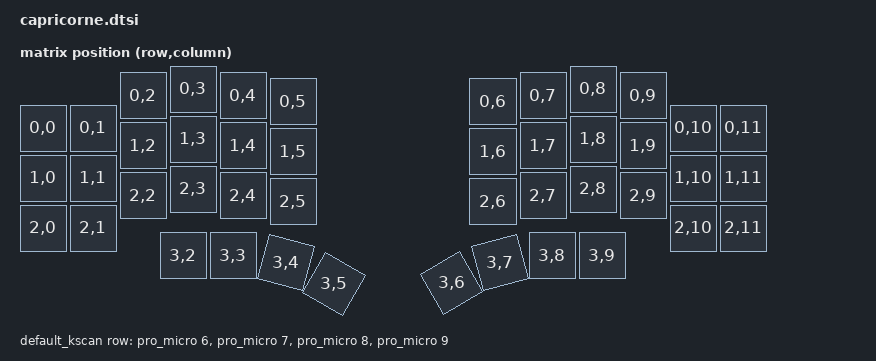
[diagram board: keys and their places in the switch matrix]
/*
 * Copyright (c) 2022 The ZMK Contributors
 *
 * SPDX-License-Identifier: MIT
 */

#include <dt-bindings/zmk/matrix_transform.h>
#include <physical_layouts.dtsi>

/ {
    chosen {
        zmk,kscan = &default_kscan;
        zmk,physical-layout = &physical_layout0;
    };

    default_transform: keymap_transform_0 {
        compatible = "zmk,matrix-transform";
        columns = <12>;
        rows = <4>;
        // | SW1  | SW2  | SW3  | SW4  | SW5  | SW6  |   | SW6  | SW5  | SW4  | SW3  | SW2  | SW1  |
        // | SW7  | SW8  | SW9  | SW10 | SW11 | SW12 |   | SW12 | SW11 | SW10 | SW9  | SW8  | SW7  |
        // | SW13 | SW14 | SW15 | SW16 | SW17 | SW18 |   | SW18 | SW17 | SW16 | SW15 | SW14 | SW13 |
        //               | SW18 | SW19 | SW20 | SW21 |   | SW21 | SW20 | SW19 | SW18 |
        map = <
RC(0,0) RC(0,1) RC(0,2) RC(0,3) RC(0,4) RC(0,5)   RC(0,6) RC(0,7) RC(0,8) RC(0,9) RC(0,10) RC(0,11)
RC(1,0) RC(1,1) RC(1,2) RC(1,3) RC(1,4) RC(1,5)   RC(1,6) RC(1,7) RC(1,8) RC(1,9) RC(1,10) RC(1,11)
RC(2,0) RC(2,1) RC(2,2) RC(2,3) RC(2,4) RC(2,5)   RC(2,6) RC(2,7) RC(2,8) RC(2,9) RC(2,10) RC(2,11)
                RC(3,2) RC(3,3) RC(3,4) RC(3,5)   RC(3,6) RC(3,7) RC(3,8) RC(3,9)
        >;
    };

    default_kscan: kscan {
        compatible = "zmk,kscan-gpio-matrix";
        label = "default_kscan";
        diode-direction = "col2row";
        row-gpios
            = <&pro_micro 6 (GPIO_ACTIVE_HIGH | GPIO_PULL_DOWN)>
            , <&pro_micro 7 (GPIO_ACTIVE_HIGH | GPIO_PULL_DOWN)>
            , <&pro_micro 8 (GPIO_ACTIVE_HIGH | GPIO_PULL_DOWN)>
            , <&pro_micro 9 (GPIO_ACTIVE_HIGH | GPIO_PULL_DOWN)>
            ;
    };

    physical_layout0: physical_layout_0 {
        compatible = "zmk,physical-layout";
        display-name = "Default Layout";
        transform = <&default_transform>;
        kscan = <&default_kscan>;

        // Each entry: key_physical_attrs <w> <h> <x> <y> <rot> <rx> <ry>
        // Units are centiunits (1u = 100). Rotation is in centidegrees (1deg = 100).
                keys
            //                     w    h     x     y    rot     rx    ry
            // Row 0 — top row (left half)
            = <&key_physical_attrs 100 100    0    78     0      0     0>
            , <&key_physical_attrs 100 100  100    78     0      0     0>
            , <&key_physical_attrs 100 100  200    13     0      0     0>
            , <&key_physical_attrs 100 100  300     0     0      0     0>
            , <&key_physical_attrs 100 100  400    13     0      0     0>
            , <&key_physical_attrs 100 100  500    25     0      0     0>
            // Row 0 — top row (right half)
            , <&key_physical_attrs 100 100  900    25     0      0     0>
            , <&key_physical_attrs 100 100 1000    13     0      0     0>
            , <&key_physical_attrs 100 100 1100     0     0      0     0>
            , <&key_physical_attrs 100 100 1200    13     0      0     0>
            , <&key_physical_attrs 100 100 1300    78     0      0     0>
            , <&key_physical_attrs 100 100 1400    78     0      0     0>

            // Row 1 — home row (left)
            , <&key_physical_attrs 100 100    0   178     0      0     0>
            , <&key_physical_attrs 100 100  100   178     0      0     0>
            , <&key_physical_attrs 100 100  200   113     0      0     0>
            , <&key_physical_attrs 100 100  300   100     0      0     0>
            , <&key_physical_attrs 100 100  400   113     0      0     0>
            , <&key_physical_attrs 100 100  500   125     0      0     0>
            // Row 1 — home row (right)
            , <&key_physical_attrs 100 100  900   125     0      0     0>
            , <&key_physical_attrs 100 100 1000   113     0      0     0>
            , <&key_physical_attrs 100 100 1100   100     0      0     0>
            , <&key_physical_attrs 100 100 1200   113     0      0     0>
            , <&key_physical_attrs 100 100 1300   178     0      0     0>
            , <&key_physical_attrs 100 100 1400   178     0      0     0>

            // Row 2 — bottom row (left)
            , <&key_physical_attrs 100 100    0   278     0      0     0>
            , <&key_physical_attrs 100 100  100   278     0      0     0>
            , <&key_physical_attrs 100 100  200   213     0      0     0>
            , <&key_physical_attrs 100 100  300   200     0      0     0>
            , <&key_physical_attrs 100 100  400   213     0      0     0>
            , <&key_physical_attrs 100 100  500   225     0      0     0>
            // Row 2 — bottom row (right)
            , <&key_physical_attrs 100 100  900   225     0      0     0>
            , <&key_physical_attrs 100 100 1000   213     0      0     0>
            , <&key_physical_attrs 100 100 1100   200     0      0     0>
            , <&key_physical_attrs 100 100 1200   213     0      0     0>
            , <&key_physical_attrs 100 100 1300   278     0      0     0>
            , <&key_physical_attrs 100 100 1400   278     0      0     0>

            // Row 3 — thumb cluster (left)
            , <&key_physical_attrs 100 100  280   333       0     0     0>
            , <&key_physical_attrs 100 100  380   333       0     0     0>
            , <&key_physical_attrs 100 100  380   325    1500   398   790>
            , <&key_physical_attrs 100 100  375   320    3000   398   790>
            // Row 3 — thumb cluster (right)
            , <&key_physical_attrs 100 100 1025   317 (-3000) 1102   790>
            , <&key_physical_attrs 100 100 1020   325 (-1500) 1102   790>
            , <&key_physical_attrs 100 100 1018   333       0     0     0>
            , <&key_physical_attrs 100 100 1118   333       0     0     0>
            ;
    };
};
